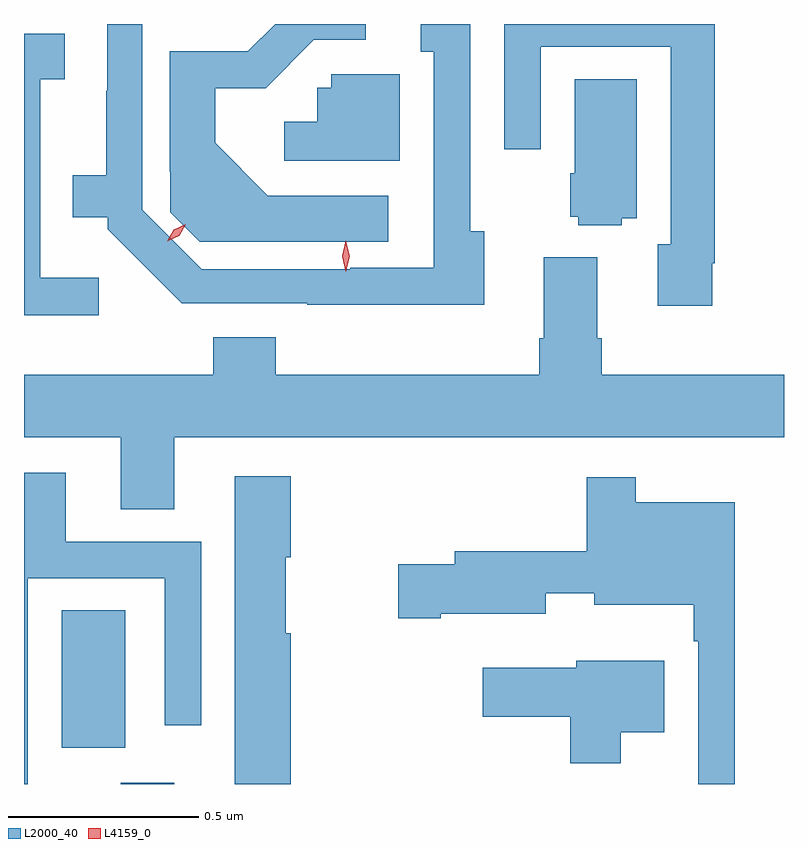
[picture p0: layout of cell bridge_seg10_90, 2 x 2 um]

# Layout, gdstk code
import gdstk
lib = gdstk.Library(unit=1e-6, precision=1e-09)
def R(c, l, rs):  # rectangles x0, y0, x1, y1
    for r in rs: c.add(gdstk.rectangle(r[:2], r[2:], *l))
def P(c, l, *ps):  # polygons
    for p in ps: c.add(gdstk.Polygon(p, *l))
L2000_40 = (2000, 40)
L4159_0 = (4159, 0)

bridge_seg10_90 = lib.new_cell('bridge_seg10_90')
R(bridge_seg10_90, L2000_40, [(637.91,1296.739,638.05,1296.742), (637.754,1296.834,637.921,1297.196)])
P(bridge_seg10_90, L2000_40, [(639.466,1298.11),(639.473,1298.11),(639.473,1298.739),(638.919,1298.739),(638.919,1298.409),(639.015,1298.409),(639.015,1298.679),(639.357,1298.679),(639.357,1298.159),(639.323,1298.159),(639.323,1297.998),(639.466,1297.998)],
  [(638.613,1298.287),(638.297,1298.287),(638.158,1298.426),(638.158,1298.57),(638.291,1298.57),(638.418,1298.697),(638.554,1298.697),(638.554,1298.739),(638.316,1298.739),(638.244,1298.667),(638.038,1298.667),(638.038,1298.35),(638.04,1298.35),(638.04,1298.244),(638.118,1298.166),(638.613,1298.166)],
  [(638.866,1298.194),(638.829,1298.194),(638.829,1298.739),(638.699,1298.739),(638.699,1298.666),(638.733,1298.666),(638.733,1298.097),(638.513,1298.097),(638.513,1298.093),(638.123,1298.093),(637.966,1298.25),(637.966,1298.739),(637.874,1298.739),(637.874,1298.564),(637.872,1298.564),(637.872,1298.341),(637.783,1298.341),(637.783,1298.231),(637.875,1298.231),(637.875,1298.199),(638.07,1298.004),(638.401,1298.004),(638.401,1298),(638.866,1298)],
  [(637.852,1298.071),(637.698,1298.071),(637.698,1298.593),(637.762,1298.593),(637.762,1298.714),(637.655,1298.714),(637.655,1297.973),(637.852,1297.973)],
  [(638.644,1298.607),(638.463,1298.607),(638.463,1298.571),(638.427,1298.571),(638.427,1298.482),(638.34,1298.482),(638.34,1298.379),(638.644,1298.379)],
  [(639.228,1298.228),(639.268,1298.228),(639.268,1298.594),(639.104,1298.594),(639.104,1298.346),(639.092,1298.346),(639.092,1298.232),(639.114,1298.232),(639.114,1298.21),(639.228,1298.21)],
  [(638.05,1297.652),(639.655,1297.652),(639.655,1297.816),(639.176,1297.816),(639.176,1297.912),(639.163,1297.912),(639.163,1298.125),(639.023,1298.125),(639.023,1297.912),(639.011,1297.912),(639.011,1297.816),(638.318,1297.816),(638.318,1297.915),(638.153,1297.915),(638.153,1297.816),(637.655,1297.816),(637.655,1297.652),(637.91,1297.652),(637.91,1297.462),(638.05,1297.462)],
  [(637.665,1297.281),(638.025,1297.281),(638.025,1296.894),(638.121,1296.894),(638.121,1297.377),(637.765,1297.377),(637.765,1297.558),(637.655,1297.558),(637.655,1296.739),(637.665,1296.739)],
  [(638.357,1297.136),(638.344,1297.136),(638.344,1297.336),(638.357,1297.336),(638.357,1297.549),(638.21,1297.549),(638.21,1296.739),(638.357,1296.739)],
  [(639.526,1297.48),(639.265,1297.48),(639.265,1297.546),(639.136,1297.546),(639.136,1297.351),(638.789,1297.351),(638.789,1297.317),(638.64,1297.317),(638.64,1297.175),(638.752,1297.175),(638.752,1297.187),(639.028,1297.187),(639.028,1297.241),(639.155,1297.241),(639.155,1297.211),(639.417,1297.211),(639.417,1297.115),(639.429,1297.115),(639.429,1296.739),(639.526,1296.739)],
  [(639.226,1296.875),(639.34,1296.875),(639.34,1297.063),(639.108,1297.063),(639.108,1297.045),(638.862,1297.045),(638.862,1296.916),(639.092,1296.916),(639.092,1296.794),(639.226,1296.794)])
P(bridge_seg10_90, L4159_0, [(638.502,1298.087),(638.502,1298.087),(638.492,1298.128),(638.502,1298.169),(638.502,1298.169),(638.502,1298.169),(638.512,1298.128),(638.502,1298.087)],
  [(638.032,1298.167),(638.032,1298.167),(638.049,1298.197),(638.08,1298.212),(638.08,1298.212),(638.08,1298.212),(638.063,1298.182),(638.032,1298.167)])

lib.write_gds('bridge_seg10_90.gds')
